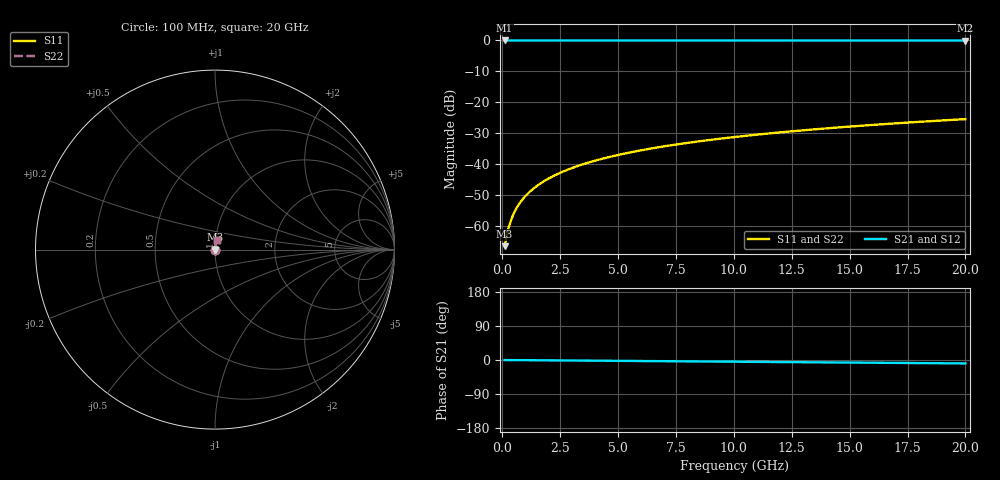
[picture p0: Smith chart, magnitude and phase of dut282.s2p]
! Touchstone file exported from HFSS 2026.1.0
!  File:  C:/ffzhzh/LocalFiles/Ansys_Project_Files/temp_train_TSV_282_1782993545_42984.aedt
!  Generated:  08:01:13 PM Jul  2, 2026
!  Design:  TSV
!  Project:  temp_train_TSV_282_1782993545_42984
! Variables:
!  h_bsmrdl = 2um
!  h_ox = 20um
!  h_rdl = 5um
!  h_sub = 85.59um
!  h_tmrdl = 5um
!  h_tsv = 85.59um
!  h_via = 3um
!  l_bsmrdl = 300um
!  l_sub = 411.26um
!  l_tmrdl = 200um
!  m_sub = 200um
!  pitch = 37.39um
!  r_tsv = 5.63um
!  s_tmrdl = 10um
!  w_bsmrdl = 18um
!  w_sub = 500um
!  w_tmrdl = 12um
!  x_tsv_center1 = 206um
!  x_tsv_center2 = 524um
!  x_tsv_center3 = 736um
!  x_tsv_center4 = 1054um
!  x_tsv_center5 = 1266um
!  x_tsv_center6 = 1584um
# GHz S MA R 50.000000
! Terminal data exported
! Port[1] = TSV1_1_T1
! Port[2] = TSV1_1_T2
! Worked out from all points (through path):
!   200 points, 100 MHz to 20 GHz, reference 50 ohm
!   highest |S21| = 0.00 dB at 100 MHz (marker M1); lowest = 0.0 dB at 20 GHz (marker M2)
!   group delay of S21, straight-line fit = 1.24 ps
!   lowest |S11| = -66.7 dB at 100 MHz (marker M3), VSWR 1.00, Z = 50 + j0.0314 ohm
!   |S11| at or under -10 dB: start of sweep to end of sweep
!   |S22| runs from -66.7 to -25.5 dB; largest |S21 - S12| = 3.7e-15
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0.1  0.0004646 42.4  0.9997 -0.0  0.9997 -0.0  0.0004646 42.4
! Gamma 0 0 0 0
! Port Impedance 50 0 50 0
0.2  0.000718 60.5  0.9996 -0.1  0.9996 -0.1  0.000718 60.5
0.3  0.001003 68.3  0.9996 -0.1  0.9996 -0.1  0.001003 68.3
0.4  0.001295 72.4  0.9996 -0.2  0.9996 -0.2  0.001295 72.4
0.5  0.001587 74.8  0.9996 -0.2  0.9996 -0.2  0.001587 74.8
0.7  0.002164 77.6  0.9995 -0.3  0.9995 -0.3  0.002164 77.6
0.8  0.002449 78.5  0.9995 -0.4  0.9995 -0.4  0.002449 78.5
1  0.003013 79.7  0.9995 -0.5  0.9995 -0.5  0.003013 79.7
1.2  0.003572 80.6  0.9994 -0.6  0.9994 -0.6  0.003572 80.6
1.4  0.004129 81.3  0.9994 -0.6  0.9994 -0.6  0.004129 81.3
1.7  0.004962 82.0  0.9994 -0.8  0.9994 -0.8  0.004962 82.0
2  0.005793 82.5  0.9993 -0.9  0.9993 -0.9  0.005793 82.5
2.7  0.007721 83.2  0.9992 -1.2  0.9992 -1.2  0.007721 83.2
3.5  0.009906 83.4  0.9991 -1.6  0.9991 -1.6  0.009906 83.4
4.2  0.0118 83.5  0.999 -1.9  0.999 -1.9  0.0118 83.5
5  0.01395 83.4  0.9989 -2.3  0.9989 -2.3  0.01395 83.4
6.8  0.01874 83.1  0.9986 -3.1  0.9986 -3.1  0.01874 83.1
8.3  0.0227 82.8  0.9984 -3.8  0.9984 -3.8  0.0227 82.8
10.1  0.02744 82.3  0.9981 -4.6  0.9981 -4.6  0.02744 82.3
13.4  0.03608 81.3  0.9977 -6.0  0.9977 -6.0  0.03608 81.3
16.7  0.04465 80.1  0.9971 -7.5  0.9971 -7.5  0.04465 80.1
20  0.05314 78.8  0.9965 -9.0  0.9965 -9.0  0.05314 78.8
